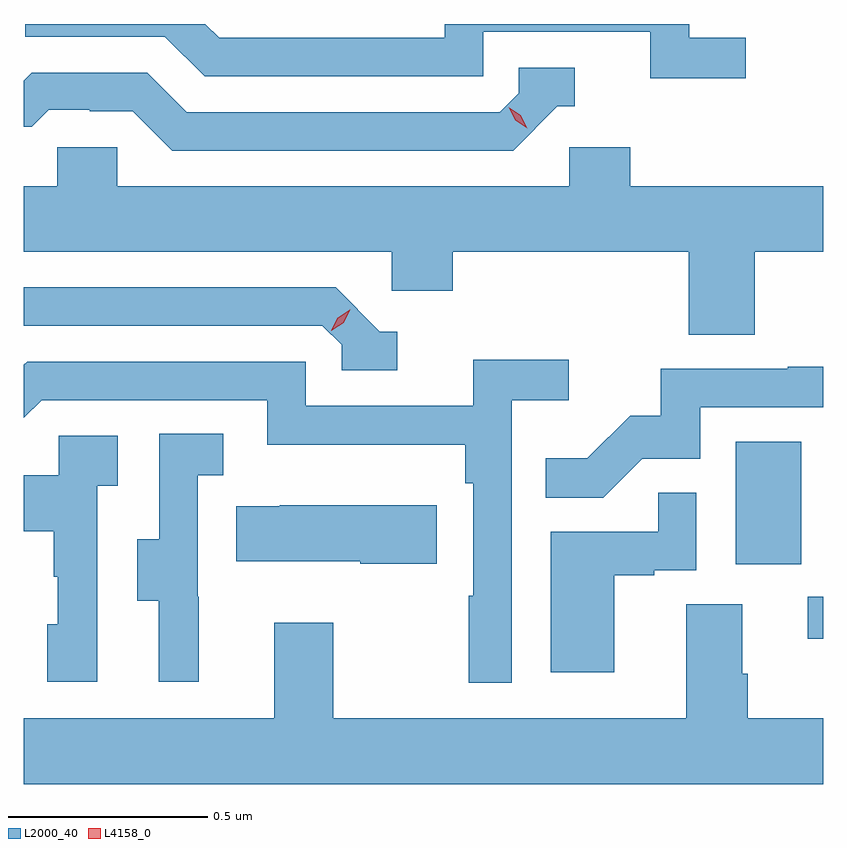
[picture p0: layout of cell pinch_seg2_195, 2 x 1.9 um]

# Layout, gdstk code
import gdstk
lib = gdstk.Library(unit=1e-6, precision=1e-09)
def R(c, l, rs):  # rectangles x0, y0, x1, y1
    for r in rs: c.add(gdstk.rectangle(r[:2], r[2:], *l))
def P(c, l, *ps):  # polygons
    for p in ps: c.add(gdstk.Polygon(p, *l))
L2000_40 = (2000, 40)
L4158_0 = (4158, 0)

pinch_seg2_195 = lib.new_cell('pinch_seg2_195')
R(pinch_seg2_195, L2000_40, [(954.531,646.668,954.569,646.773), (954.35,646.854,954.514,647.161)])
P(pinch_seg2_195, L2000_40, [(954.376,648.172),(954.234,648.172),(954.234,648.206),(953.622,648.206),(953.622,648.171),(953.058,648.171),(953.023,648.206),(952.572,648.206),(952.572,648.174),(952.922,648.174),(953.021,648.075),(953.718,648.075),(953.718,648.186),(954.137,648.186),(954.137,648.07),(954.376,648.07)],
  [(953.904,648),(953.947,648),(953.947,648.096),(953.808,648.096),(953.808,648.033),(953.76,647.985),(952.977,647.985),(952.878,648.084),(952.589,648.084),(952.569,648.064),(952.569,647.949),(952.589,647.949),(952.631,647.991),(952.734,647.991),(952.734,647.988),(952.841,647.988),(952.94,647.889),(953.793,647.889)],
  [(954.398,647.636),(954.569,647.636),(954.569,647.8),(954.086,647.8),(954.086,647.898),(953.934,647.898),(953.934,647.8),(952.803,647.8),(952.803,647.898),(952.653,647.898),(952.653,647.8),(952.569,647.8),(952.569,647.636),(953.49,647.636),(953.49,647.538),(953.642,647.538),(953.642,647.636),(954.233,647.636),(954.233,647.428),(954.398,647.428)],
  [(953.503,647.436),(953.46,647.436),(953.349,647.547),(952.569,647.547),(952.569,647.451),(953.316,647.451),(953.364,647.403),(953.364,647.34),(953.503,647.34)],
  [(953.79,647.264),(953.932,647.264),(953.932,647.366),(953.693,647.366),(953.693,647.25),(953.274,647.25),(953.274,647.361),(952.577,647.361),(952.569,647.353),(952.569,647.22),(952.614,647.265),(953.178,647.265),(953.178,647.153),(953.674,647.153),(953.674,647.057),(953.694,647.057),(953.694,646.775),(953.682,646.775),(953.682,646.557),(953.79,646.557)],
  [(954.117,647.118),(954.261,647.118),(954.261,647.247),(954.569,647.247),(954.569,647.348),(954.481,647.348),(954.481,647.343),(954.163,647.343),(954.163,647.226),(954.086,647.226),(953.979,647.119),(953.875,647.119),(953.875,647.02),(954.019,647.02)],
  [(953.006,646.773),(953.004,646.773),(953.004,647.077),(953.068,647.077),(953.068,647.18),(952.908,647.18),(952.908,646.917),(952.853,646.917),(952.853,646.762),(952.907,646.762),(952.907,646.56),(953.006,646.56)],
  [(952.752,647.051),(952.804,647.051),(952.804,647.175),(952.656,647.175),(952.656,647.077),(952.569,647.077),(952.569,646.937),(952.644,646.937),(952.644,646.823),(952.654,646.823),(952.654,646.704),(952.628,646.704),(952.628,646.56),(952.752,646.56)],
  [(954.046,646.827),(954.146,646.827),(954.146,646.839),(954.252,646.839),(954.252,647.033),(954.157,647.033),(954.157,646.935),(953.888,646.935),(953.888,646.584),(954.046,646.584)],
  [(953.602,647.002),(953.209,647.002),(953.209,646.999),(953.101,646.999),(953.101,646.862),(953.411,646.862),(953.411,646.855),(953.602,646.855)],
  [(954.569,646.468),(954.38,646.468),(954.38,646.58),(954.367,646.58),(954.367,646.754),(954.227,646.754),(954.227,646.468),(953.343,646.468),(953.343,646.708),(953.195,646.708),(953.195,646.468),(952.569,646.468),(952.569,646.304),(954.569,646.304)])
P(pinch_seg2_195, L4158_0, [(953.338,647.438),(953.338,647.439),(953.354,647.471),(953.385,647.491),(953.386,647.491),(953.386,647.491),(953.369,647.458),(953.338,647.438)],
  [(953.829,647.945),(953.798,647.965),(953.782,647.998),(953.782,647.998),(953.782,647.998),(953.813,647.978),(953.829,647.945),(953.829,647.945)])

lib.write_gds('pinch_seg2_195.gds')
